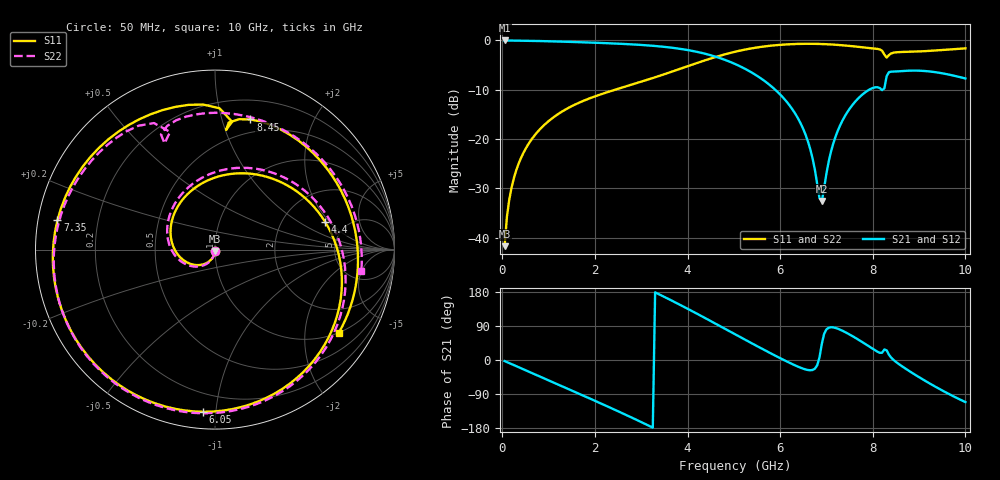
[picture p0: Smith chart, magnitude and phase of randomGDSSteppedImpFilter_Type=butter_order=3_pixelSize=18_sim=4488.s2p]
! freq	dB(S11)	phase(S11)	dB(S12)	phase(S12)
!  dB(S21)	phase(S21)	dB(S22)	phase(S22)
!S-par simulation data
#  GHz  S  DB  R 50
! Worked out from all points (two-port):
!   200 points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, 50 MHz to 10 GHz, reference 50 ohm
!   highest |S21| = 0.00 dB at 50 MHz (marker M1); lowest = -32.6 dB at 6.9 GHz (marker M2)
!   |S21| within 3 dB of the highest: start of sweep to 4.501 GHz
!   lowest |S11| = -41.7 dB at 50 MHz (marker M3), VSWR 1.02, Z = 50 - j0.817 ohm
!   |S11| at or under -10 dB: start of sweep to 2.437 GHz
!   |S22| runs from -41.7 to -0.6 dB; largest |S21 - S12| = 0
!   S11 on the Smith chart (normalised r, x): 50 MHz: 1.00, -0.02; 4.4 GHz: 3.48, +1.78; 6.05 GHz: 0.09, -0.93; 7.35 GHz: 0.06, +0.09; 8.45 GHz: 0.37, +1.24; 10 GHz: 1.00, -2.98
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0.05  -41.74 -91.9  -0.00 -2.7  -0.00 -2.7  -41.73 -91.6
0.2  -29.85 -101.2  -0.02 -10.8  -0.02 -10.8  -29.84 -100.1
0.5  -22.04 -118.8  -0.06 -26.9  -0.06 -26.9  -22.03 -116.0
1.15  -15.29 -155.7  -0.21 -61.8  -0.21 -61.8  -15.29 -149.4
1.75  -12.26 170.4  -0.38 -94.0  -0.38 -94.0  -12.26 179.7
2.65  -9.38 119.1  -0.72 -143.7  -0.72 -143.7  -9.40 131.6
3.4  -7.17 75.3  -1.21 172.6  -1.21 172.6  -7.19 87.8
4.4  -3.97 14.0  -2.75 109.4  -2.75 109.4  -3.99 22.9
5.05  -2.24 -28.0  -4.88 66.3  -4.88 66.3  -2.25 -21.3
5.5  -1.43 -57.6  -7.17 36.7  -7.17 36.7  -1.43 -51.7
6.05  -0.86 -94.1  -11.46 1.8  -11.46 1.8  -0.84 -87.8
6.45  -0.69 -121.6  -16.98 -20.8  -16.98 -20.8  -0.65 -113.9
6.7  -0.68 -139.5  -23.93 -26.3  -23.93 -26.3  -0.63 -130.3
6.9  -0.73 -154.4  -32.60 42.9  -32.60 42.9  -0.66 -143.7
7.1  -0.82 -170.0  -22.48 86.5  -22.48 86.5  -0.74 -157.3
7.35  -0.98 169.4  -16.17 76.9  -16.17 76.9  -0.90 -174.9
7.95  -1.57 115.5  -9.85 33.5  -9.85 33.5  -1.49 139.9
8.25  -2.87 82.4  -9.74 27.8  -9.74 27.8  -3.07 110.9
8.35  -2.95 83.8  -6.44 13.9  -6.44 13.9  -2.99 115.1
8.45  -2.48 74.8  -6.32 0.0  -6.32 0.0  -2.47 106.7
9.15  -2.16 17.9  -6.22 -56.4  -6.22 -56.4  -2.24 50.8
10  -1.61 -33.9  -7.72 -111.1  -7.72 -111.1  -1.68 -8.3
